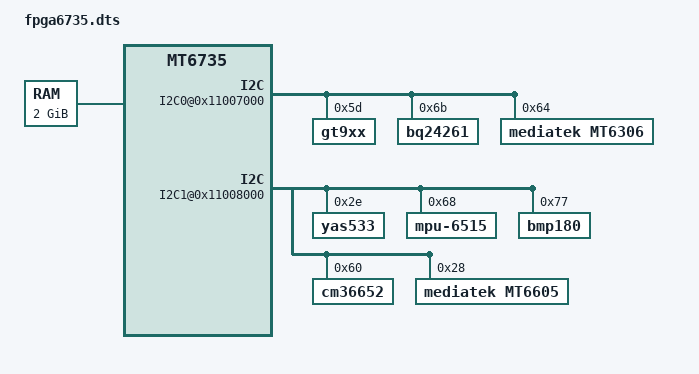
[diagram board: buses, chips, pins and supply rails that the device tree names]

/dts-v1/;

/include/ "mt6735.dtsi"

/ {
	memory@00000000 {
		device_type = "memory";
		reg = <0 0x40000000 0 0x80000000>;
	};

	bus {
		compatible = "simple-bus";
		#address-cells = <1>;
		#size-cells = <1>;
		ranges = <0 0 0 0xffffffff>;

		I2C0@0x11007000 {
			gt9xx@5d {
				compatible = "gt9xx";
				reg = <0x5d>;
			};

			bq24261@6b {
				compatible = "bq24261";
				reg = <0x6b>;
			};

			mt6306@64 {
				compatible = "mediatek,mt6306";
				reg = <0x64>;
			};
		};

		I2C1@0x11008000 {
			yas533@2e {
				compatible = "yas533";
				reg = <0x2e>;
			};

			mpu-6515@68 {
				compatible = "mpu-6515";
				reg = <0x68>;
			};

			bmp180@77 {
				compatible = "bmp180";
				reg = <0x77>;
			};

			cm36652@60 {
				compatble = "cm36652";
				reg = <0x60>;
			};

			mt6605@28 {
				compatible = "mediatek,mt6605";
				reg = <0x28>;
			};
		};

	};
};
